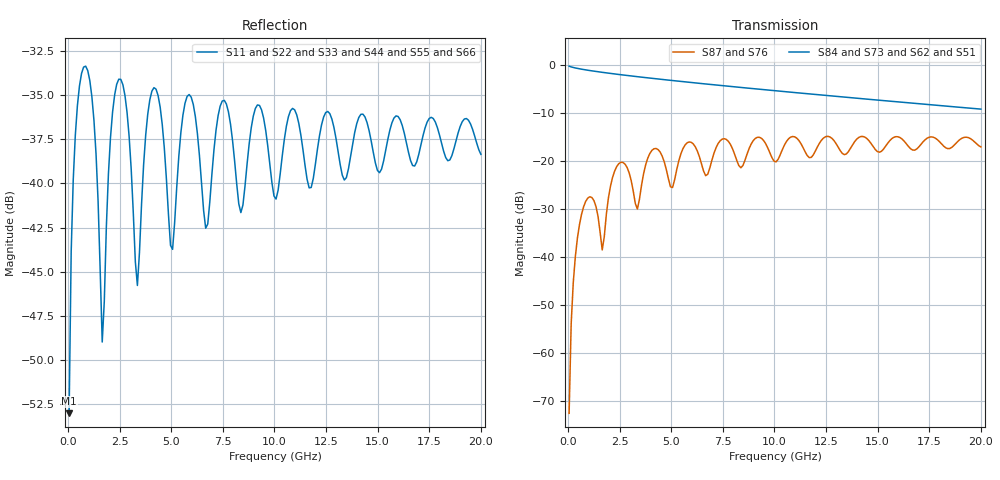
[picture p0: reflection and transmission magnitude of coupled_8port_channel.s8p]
! Touchstone 1.1 File - 8-Port Coupled Transmission Line Channel
! Port 1 <-> Port 5 (Lane 1), Port 2 <-> Port 6 (Lane 2)
! Port 3 <-> Port 7 (Lane 3), Port 4 <-> Port 8 (Lane 4)
! Reference Impedance: 50 Ohms | Frequency: 0.05 to 20.0 GHz
# GHz S RI R 50
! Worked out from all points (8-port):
!   200 points, 50 MHz to 20 GHz, reference 50 ohm
!   strongest paths, dB at 50 MHz, 5.063 GHz, 10.08 GHz, 15.09 GHz, 20 GHz:
!     S84: -0.2, -3.2, -5.3, -7.3, -9.1
!     S73: -0.2, -3.2, -5.3, -7.3, -9.1
!     S62: -0.2, -3.2, -5.3, -7.3, -9.1
!     S51: -0.2, -3.2, -5.3, -7.3, -9.1
!     S87: -72.6, -25.5, -20.1, -18.1, -17.0
!     S76: -72.6, -25.5, -20.1, -18.1, -17.0
!   lowest |S11| = -53.0 dB at 50 MHz (marker M1), VSWR 1.00, Z = 50.1 + j0.21 ohm
!   |S11| at or under -10 dB: start of sweep to end of sweep
